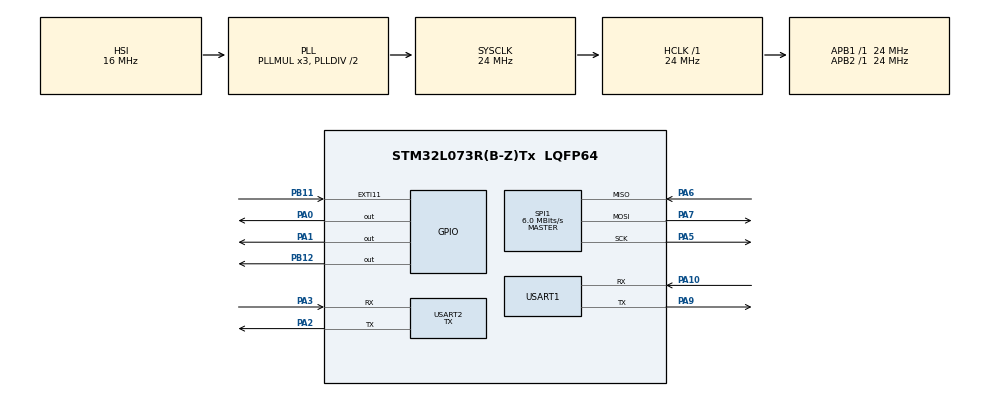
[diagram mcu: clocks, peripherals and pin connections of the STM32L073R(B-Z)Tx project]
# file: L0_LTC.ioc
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Dma.Request0=USART2_TX
Dma.Request1=USART1_RX
Dma.Request2=USART1_TX
Dma.USART1_RX.1.Direction=DMA_PERIPH_TO_MEMORY
Dma.USART1_RX.1.Instance=DMA1_Channel3
Dma.USART1_RX.1.MemDataAlignment=DMA_MDATAALIGN_BYTE
Dma.USART1_RX.1.MemInc=DMA_MINC_ENABLE
Dma.USART1_RX.1.Mode=DMA_NORMAL
Dma.USART1_RX.1.PeriphDataAlignment=DMA_PDATAALIGN_BYTE
Dma.USART1_RX.1.PeriphInc=DMA_PINC_DISABLE
Dma.USART1_RX.1.Priority=DMA_PRIORITY_VERY_HIGH
Dma.USART1_TX.2.Direction=DMA_MEMORY_TO_PERIPH
Dma.USART1_TX.2.Instance=DMA1_Channel2
Dma.USART1_TX.2.MemDataAlignment=DMA_MDATAALIGN_BYTE
Dma.USART1_TX.2.MemInc=DMA_MINC_ENABLE
Dma.USART1_TX.2.Mode=DMA_NORMAL
Dma.USART1_TX.2.PeriphDataAlignment=DMA_PDATAALIGN_BYTE
Dma.USART1_TX.2.PeriphInc=DMA_PINC_DISABLE
Dma.USART1_TX.2.Priority=DMA_PRIORITY_MEDIUM
Dma.USART2_TX.0.Direction=DMA_MEMORY_TO_PERIPH
Dma.USART2_TX.0.Instance=DMA1_Channel4
Dma.USART2_TX.0.MemDataAlignment=DMA_MDATAALIGN_BYTE
Dma.USART2_TX.0.MemInc=DMA_MINC_ENABLE
Dma.USART2_TX.0.Mode=DMA_NORMAL
Dma.USART2_TX.0.PeriphDataAlignment=DMA_PDATAALIGN_BYTE
Dma.USART2_TX.0.PeriphInc=DMA_PINC_DISABLE
Dma.USART2_TX.0.Priority=DMA_PRIORITY_LOW
Mcu.Family=STM32L0
Mcu.Name=STM32L073R(B-Z)Tx
Mcu.Package=LQFP64
NVIC.DMA1_Channel2_3_IRQn=true\:0\:0\:false\:false\:true\:false\:true
NVIC.DMA1_Channel4_5_6_7_IRQn=true\:0\:0\:false\:false\:true\:false\:true
NVIC.EXTI4_15_IRQn=true\:0\:0\:false\:false\:true\:true\:true
NVIC.USART1_IRQn=true\:0\:0\:false\:false\:true\:true\:true
NVIC.USART2_IRQn=true\:0\:0\:false\:false\:true\:true\:true
PA0.Signal=GPIO_Output
PA1.Signal=GPIO_Output
PA10.Mode=Asynchronous
PA10.Signal=USART1_RX
PA13.Mode=Serial_Wire
PA13.Signal=SYS_SWDIO
PA14.Mode=Serial_Wire
PA14.Signal=SYS_SWCLK
PA2.Mode=Asynchronous
PA2.Signal=USART2_TX
PA3.Mode=Asynchronous
PA3.Signal=USART2_RX
PA5.Mode=Full_Duplex_Master
PA5.Signal=SPI1_SCK
PA6.Mode=Full_Duplex_Master
PA6.Signal=SPI1_MISO
PA7.Mode=Full_Duplex_Master
PA7.Signal=SPI1_MOSI
PA9.Mode=Asynchronous
PA9.Signal=USART1_TX
PB11.Signal=GPXTI11
PB12.Signal=GPIO_Output
ProjectManager.HeapSize=0x200
ProjectManager.StackSize=0x400
ProjectManager.TargetToolchain=STM32CubeIDE
RCC.AHBFreq_Value=24000000
RCC.APB1Freq_Value=24000000
RCC.APB1TimFreq_Value=24000000
RCC.APB2Freq_Value=24000000
RCC.APB2TimFreq_Value=24000000
RCC.HCLKFreq_Value=24000000
RCC.HSE_VALUE=8000000
RCC.HSI16_VALUE=16000000
RCC.HSI48_VALUE=48000000
RCC.HSI_VALUE=16000000
RCC.LSE_VALUE=32768
RCC.MSI_VALUE=2097000
RCC.SYSCLKFreq_VALUE=24000000
RCC.SYSCLKSource=RCC_SYSCLKSOURCE_PLLCLK
RCC.VCOOutputFreq_Value=48000000
SPI1.BaudRatePrescaler=SPI_BAUDRATEPRESCALER_4
SPI1.CalculateBaudRate=6.0 MBits/s
SPI1.Direction=SPI_DIRECTION_2LINES
SPI1.Mode=SPI_MODE_MASTER
SPI1.VirtualType=VM_MASTER
USART1.VirtualMode-Asynchronous=VM_ASYNC
USART2.Mode=MODE_TX
USART2.VirtualMode-Asynchronous=VM_ASYNC
board=custom

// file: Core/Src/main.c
/* USER CODE BEGIN Header */
/**
  ******************************************************************************
  * @file           : main.c
  * @brief          : Main program body
  ******************************************************************************
  * @attention
  *
  * <h2><center>&copy; Copyright (c) 2022 STMicroelectronics.
  * All rights reserved.</center></h2>
  *
  * This software component is licensed by ST under BSD 3-Clause license,
  * the "License"; You may not use this file except in compliance with the
  * License. You may obtain a copy of the License at:
  *                        opensource.org/licenses/BSD-3-Clause
  *
  ******************************************************************************
  */
/* USER CODE END Header */
#include "main.h"

/* USER CODE BEGIN Includes */
#include "debug.h"
#include "ltc2983.h"
#include "iap_common.h"
#include "bl_interface.h"
#include "conf.h"
#include "leds.h"
#include "gpio.h"
#include "rt_bus_proto.h"
/* USER CODE END Includes */

SPI_HandleTypeDef hspi1;

UART_HandleTypeDef huart1;
UART_HandleTypeDef huart2;
DMA_HandleTypeDef hdma_usart1_rx;
DMA_HandleTypeDef hdma_usart1_tx;
DMA_HandleTypeDef hdma_usart2_tx;

/* USER CODE BEGIN PV */

#define APPLICATION_VERS	"1.0.1"

const tAppInfo appinfo __attribute__((section (".app_info"))) = {.length = 0x00, .version = APPLICATION_VERS};
const uint8_t appsha[20] __attribute__((section (".app_sha"))) = {0x0};

volatile uint32_t VectorTable[64] __attribute__((section(".RAMVectorTable")));
volatile uint32_t iapMailbox[2] __attribute__((section(".IAPMailbox")));

/* USER CODE END PV */

void SystemClock_Config(void);
static void MX_GPIO_Init(void);
static void MX_DMA_Init(void);
static void MX_SPI1_Init(void);
static void MX_USART2_UART_Init(void);
static void MX_USART1_UART_Init(void);

/* USER CODE BEGIN 0 */
void Board_SystickCallBack()
{

}

/* USER CODE END 0 */

int main(void)
{
  /* USER CODE BEGIN 1 */
  bl_remapMemToSRAM();

  /* USER CODE END 1 */

  /* MCU Configuration--------------------------------------------------------*/

  /* Reset of all peripherals, Initializes the Flash interface and the Systick. */
  HAL_Init();

  /* Configure the system clock */
  SystemClock_Config();

  /* Initialize all configured peripherals */
  MX_GPIO_Init();
  MX_DMA_Init();
  MX_SPI1_Init();
  MX_USART2_UART_Init();
  MX_USART1_UART_Init();

  /* USER CODE BEGIN 2 */
  GPIO_Configure(gInitGPIOs, gGPIOPinCount);

  debug_init();

  conf_init();

  rt_bus_init();

  iapMailbox[0] = 0x00;
  iapMailbox[1] = 0x00;

  LTC_init();

  /* USER CODE END 2 */

  /* Infinite loop */
  while (1)
  {

    /* USER CODE BEGIN 3 */
	  rt_bus_proto_clear();

	  LTC_process();
  }
  /* USER CODE END 3 */
}

void SystemClock_Config(void)
{
  RCC_OscInitTypeDef RCC_OscInitStruct = {0};
  RCC_ClkInitTypeDef RCC_ClkInitStruct = {0};
  RCC_PeriphCLKInitTypeDef PeriphClkInit = {0};

  /** Configure the main internal regulator output voltage
  */
  __HAL_PWR_VOLTAGESCALING_CONFIG(PWR_REGULATOR_VOLTAGE_SCALE1);
  /** Initializes the RCC Oscillators according to the specified parameters
  * in the RCC_OscInitTypeDef structure.
  */
  RCC_OscInitStruct.OscillatorType = RCC_OSCILLATORTYPE_HSI;
  RCC_OscInitStruct.HSIState = RCC_HSI_ON;
  RCC_OscInitStruct.HSICalibrationValue = RCC_HSICALIBRATION_DEFAULT;
  RCC_OscInitStruct.PLL.PLLState = RCC_PLL_ON;
  RCC_OscInitStruct.PLL.PLLSource = RCC_PLLSOURCE_HSI;
  RCC_OscInitStruct.PLL.PLLMUL = RCC_PLLMUL_3;
  RCC_OscInitStruct.PLL.PLLDIV = RCC_PLLDIV_2;
  if (HAL_RCC_OscConfig(&RCC_OscInitStruct) != HAL_OK)
  {
    Error_Handler();
  }
  /** Initializes the CPU, AHB and APB buses clocks
  */
  RCC_ClkInitStruct.ClockType = RCC_CLOCKTYPE_HCLK|RCC_CLOCKTYPE_SYSCLK
                              |RCC_CLOCKTYPE_PCLK1|RCC_CLOCKTYPE_PCLK2;
  RCC_ClkInitStruct.SYSCLKSource = RCC_SYSCLKSOURCE_PLLCLK;
  RCC_ClkInitStruct.AHBCLKDivider = RCC_SYSCLK_DIV1;
  RCC_ClkInitStruct.APB1CLKDivider = RCC_HCLK_DIV1;
  RCC_ClkInitStruct.APB2CLKDivider = RCC_HCLK_DIV1;

  if (HAL_RCC_ClockConfig(&RCC_ClkInitStruct, FLASH_LATENCY_1) != HAL_OK)
  {
    Error_Handler();
  }
  PeriphClkInit.PeriphClockSelection = RCC_PERIPHCLK_USART1|RCC_PERIPHCLK_USART2;
  PeriphClkInit.Usart1ClockSelection = RCC_USART1CLKSOURCE_PCLK2;
  PeriphClkInit.Usart2ClockSelection = RCC_USART2CLKSOURCE_PCLK1;
  if (HAL_RCCEx_PeriphCLKConfig(&PeriphClkInit) != HAL_OK)
  {
    Error_Handler();
  }

  /**Configure the Systick interrupt time
     */
    HAL_SYSTICK_Config(HAL_RCC_GetHCLKFreq()/1000);

    /**Configure the Systick
     */
    HAL_SYSTICK_CLKSourceConfig(SYSTICK_CLKSOURCE_HCLK);

    /* SysTick_IRQn interrupt configuration */
    HAL_NVIC_SetPriority(SysTick_IRQn, 0, 0);
}

static void MX_SPI1_Init(void)
{

  /* SPI1 parameter configuration*/
  hspi1.Instance = SPI1;
  hspi1.Init.Mode = SPI_MODE_MASTER;
  hspi1.Init.Direction = SPI_DIRECTION_2LINES;
  hspi1.Init.DataSize = SPI_DATASIZE_8BIT;
  hspi1.Init.CLKPolarity = SPI_POLARITY_LOW;
  hspi1.Init.CLKPhase = SPI_PHASE_1EDGE;
  hspi1.Init.NSS = SPI_NSS_SOFT;
  hspi1.Init.BaudRatePrescaler = SPI_BAUDRATEPRESCALER_8;
  hspi1.Init.FirstBit = SPI_FIRSTBIT_MSB;
  hspi1.Init.TIMode = SPI_TIMODE_DISABLE;
  hspi1.Init.CRCCalculation = SPI_CRCCALCULATION_DISABLE;
  hspi1.Init.CRCPolynomial = 7;
  if (HAL_SPI_Init(&hspi1) != HAL_OK)
  {
    Error_Handler();
  }

}

static void MX_USART1_UART_Init(void)
{

	huart1.Instance = USART1;
	huart1.Init.BaudRate = 1500000;
	huart1.Init.WordLength = UART_WORDLENGTH_8B;
	huart1.Init.StopBits = UART_STOPBITS_1;
	huart1.Init.Parity = UART_PARITY_NONE;
	huart1.Init.Mode = UART_MODE_TX_RX;
	huart1.Init.HwFlowCtl = UART_HWCONTROL_NONE;
	huart1.Init.OverSampling = UART_OVERSAMPLING_16;
	huart1.Init.OneBitSampling = UART_ONE_BIT_SAMPLE_DISABLE;
	huart1.AdvancedInit.AdvFeatureInit = UART_ADVFEATURE_SWAP_INIT;
	huart1.AdvancedInit.Swap = UART_ADVFEATURE_SWAP_ENABLE;
	if (HAL_UART_Init(&huart1) != HAL_OK)
	{
		Error_Handler();
	}

}

static void MX_USART2_UART_Init(void)
{

  huart2.Instance = USART2;
  huart2.Init.BaudRate = 115200;
  huart2.Init.WordLength = UART_WORDLENGTH_8B;
  huart2.Init.StopBits = UART_STOPBITS_1;
  huart2.Init.Parity = UART_PARITY_NONE;
  huart2.Init.Mode = UART_MODE_TX;
  huart2.Init.HwFlowCtl = UART_HWCONTROL_NONE;
  huart2.Init.OverSampling = UART_OVERSAMPLING_16;
  huart2.Init.OneBitSampling = UART_ONE_BIT_SAMPLE_DISABLE;
  huart2.AdvancedInit.AdvFeatureInit = UART_ADVFEATURE_NO_INIT;
  if (HAL_UART_Init(&huart2) != HAL_OK)
  {
    Error_Handler();
  }

}

static void MX_DMA_Init(void)
{

  /* DMA controller clock enable */
  __HAL_RCC_DMA1_CLK_ENABLE();

  /* DMA interrupt init */
  /* DMA1_Channel2_3_IRQn interrupt configuration */
  HAL_NVIC_SetPriority(DMA1_Channel2_3_IRQn, 0, 0);
  HAL_NVIC_EnableIRQ(DMA1_Channel2_3_IRQn);
  /* DMA1_Channel4_5_6_7_IRQn interrupt configuration */
  HAL_NVIC_SetPriority(DMA1_Channel4_5_6_7_IRQn, 0, 0);
  HAL_NVIC_EnableIRQ(DMA1_Channel4_5_6_7_IRQn);

}

static void MX_GPIO_Init(void)
{
  GPIO_InitTypeDef GPIO_InitStruct = {0};

  /* GPIO Ports Clock Enable */
  __HAL_RCC_GPIOA_CLK_ENABLE();
  __HAL_RCC_GPIOB_CLK_ENABLE();

  /*Configure GPIO pin Output Level */
  HAL_GPIO_WritePin(GPIOA, GPIO_PIN_0|GPIO_PIN_1, GPIO_PIN_RESET);

  /*Configure GPIO pin Output Level */
  HAL_GPIO_WritePin(GPIOB, GPIO_PIN_12, GPIO_PIN_RESET);

  /*Configure GPIO pins : PA0 PA1 */
  GPIO_InitStruct.Pin = GPIO_PIN_0|GPIO_PIN_1;
  GPIO_InitStruct.Mode = GPIO_MODE_OUTPUT_PP;
  GPIO_InitStruct.Pull = GPIO_NOPULL;
  GPIO_InitStruct.Speed = GPIO_SPEED_FREQ_LOW;
  HAL_GPIO_Init(GPIOA, &GPIO_InitStruct);

  /*Configure GPIO pin : PB11 */
  GPIO_InitStruct.Pin = GPIO_PIN_11;
  GPIO_InitStruct.Mode = GPIO_MODE_IT_RISING;
  GPIO_InitStruct.Pull = GPIO_NOPULL;
  HAL_GPIO_Init(GPIOB, &GPIO_InitStruct);

  /*Configure GPIO pin : PB12 */
  GPIO_InitStruct.Pin = GPIO_PIN_12;
  GPIO_InitStruct.Mode = GPIO_MODE_OUTPUT_PP;
  GPIO_InitStruct.Pull = GPIO_NOPULL;
  GPIO_InitStruct.Speed = GPIO_SPEED_FREQ_LOW;
  HAL_GPIO_Init(GPIOB, &GPIO_InitStruct);

  /* EXTI interrupt init*/
  HAL_NVIC_SetPriority(EXTI4_15_IRQn, 0, 0);
  HAL_NVIC_EnableIRQ(EXTI4_15_IRQn);

}

void Error_Handler(void)
{
  __disable_irq();
  while (1)
  {
  }
}

/************************ (C) COPYRIGHT STMicroelectronics *****END OF FILE****/
